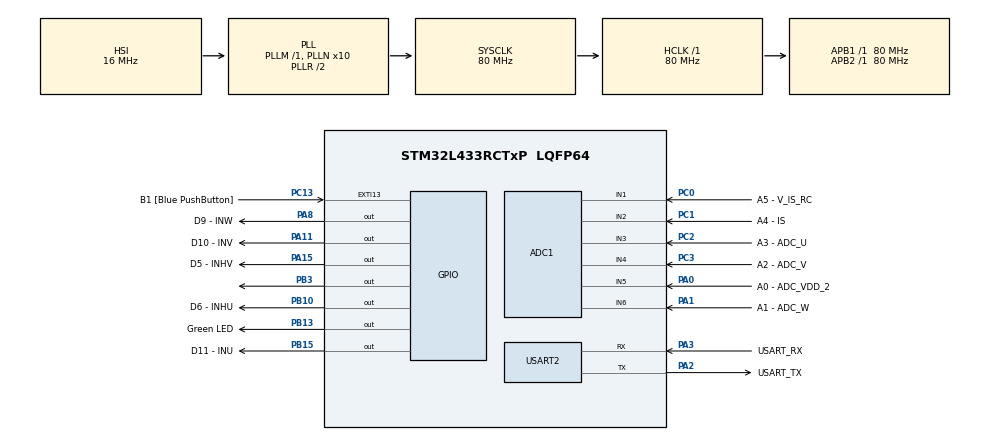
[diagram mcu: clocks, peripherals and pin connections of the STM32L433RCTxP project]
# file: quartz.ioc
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ADC1.Channel-1\#ChannelRegularConversion=ADC_CHANNEL_5
ADC1.Channel-2\#ChannelRegularConversion=ADC_CHANNEL_6
ADC1.Channel-3\#ChannelRegularConversion=ADC_CHANNEL_4
ADC1.Channel-4\#ChannelRegularConversion=ADC_CHANNEL_3
ADC1.Channel-5\#ChannelRegularConversion=ADC_CHANNEL_2
ADC1.Channel-6\#ChannelRegularConversion=ADC_CHANNEL_1
ADC1.ClockPrescaler=ADC_CLOCK_ASYNC_DIV128
ADC1.ContinuousConvMode=ENABLE
ADC1.DMAContinuousRequests=ENABLE
ADC1.NbrOfConversion=6
ADC1.NbrOfConversionFlag=1
ADC1.OffsetNumber-1\#ChannelRegularConversion=ADC_OFFSET_NONE
ADC1.OffsetNumber-2\#ChannelRegularConversion=ADC_OFFSET_NONE
ADC1.OffsetNumber-3\#ChannelRegularConversion=ADC_OFFSET_NONE
ADC1.OffsetNumber-4\#ChannelRegularConversion=ADC_OFFSET_NONE
ADC1.OffsetNumber-5\#ChannelRegularConversion=ADC_OFFSET_NONE
ADC1.OffsetNumber-6\#ChannelRegularConversion=ADC_OFFSET_NONE
ADC1.Rank-1\#ChannelRegularConversion=1
ADC1.Rank-2\#ChannelRegularConversion=2
ADC1.Rank-3\#ChannelRegularConversion=3
ADC1.Rank-4\#ChannelRegularConversion=4
ADC1.Rank-5\#ChannelRegularConversion=5
ADC1.Rank-6\#ChannelRegularConversion=6
ADC1.SamplingTime-1\#ChannelRegularConversion=ADC_SAMPLETIME_247CYCLES_5
ADC1.SamplingTime-2\#ChannelRegularConversion=ADC_SAMPLETIME_247CYCLES_5
ADC1.SamplingTime-3\#ChannelRegularConversion=ADC_SAMPLETIME_247CYCLES_5
ADC1.SamplingTime-4\#ChannelRegularConversion=ADC_SAMPLETIME_247CYCLES_5
ADC1.SamplingTime-5\#ChannelRegularConversion=ADC_SAMPLETIME_247CYCLES_5
ADC1.SamplingTime-6\#ChannelRegularConversion=ADC_SAMPLETIME_247CYCLES_5
ADC1.master=1
Dma.ADC1.0.Direction=DMA_PERIPH_TO_MEMORY
Dma.ADC1.0.Instance=DMA1_Channel1
Dma.ADC1.0.MemDataAlignment=DMA_MDATAALIGN_WORD
Dma.ADC1.0.MemInc=DMA_MINC_ENABLE
Dma.ADC1.0.Mode=DMA_CIRCULAR
Dma.ADC1.0.PeriphDataAlignment=DMA_PDATAALIGN_WORD
Dma.ADC1.0.PeriphInc=DMA_PINC_DISABLE
Dma.ADC1.0.Priority=DMA_PRIORITY_LOW
Dma.Request0=ADC1
FREERTOS.Tasks01=Task01_ID,24,128,Task01,Default,NULL,Dynamic,NULL,NULL;Task02_ID,8,128,Task02,Default,NULL,Dynamic,NULL,NULL;Task03_ID,8,128,Task03,Default,NULL,Dynamic,NULL,NULL
Mcu.Family=STM32L4
Mcu.Name=STM32L433RCTxP
Mcu.Package=LQFP64
NVIC.DMA1_Channel1_IRQn=true\:5\:0\:false\:false\:true\:true\:false\:true\:true
NVIC.PriorityGroup=NVIC_PRIORITYGROUP_4
NVIC.TIM6_DAC_IRQn=true\:15\:0\:false\:false\:true\:false\:false\:true\:true
NVIC.TimeBase=TIM6_DAC_IRQn
NVIC.TimeBaseIP=TIM6
PA0.GPIO_Label=A0 - ADC_VDD_2
PA0.Signal=ADCx_IN5
PA1.GPIO_Label=A1 - ADC_W
PA1.Signal=ADCx_IN6
PA11.GPIO_Label=D10 - INV
PA11.Signal=GPIO_Output
PA13\ (JTMS-SWDIO).GPIO_Label=TMS
PA13\ (JTMS-SWDIO).Mode=Serial_Wire
PA13\ (JTMS-SWDIO).Signal=SYS_JTMS-SWDIO
PA14\ (JTCK-SWCLK).GPIO_Label=TCK
PA14\ (JTCK-SWCLK).Mode=Serial_Wire
PA14\ (JTCK-SWCLK).Signal=SYS_JTCK-SWCLK
PA15\ (JTDI).GPIO_Label=D5 - INHV
PA15\ (JTDI).Signal=GPIO_Output
PA2.GPIO_Label=USART_TX
PA2.GPIO_Mode=GPIO_MODE_AF_PP
PA2.GPIO_PuPd=GPIO_NOPULL
PA2.GPIO_Speed=GPIO_SPEED_FREQ_VERY_HIGH
PA2.Mode=Asynchronous
PA2.Signal=USART2_TX
PA3.GPIO_Label=USART_RX
PA3.GPIO_Mode=GPIO_MODE_AF_PP
PA3.GPIO_PuPd=GPIO_NOPULL
PA3.GPIO_Speed=GPIO_SPEED_FREQ_VERY_HIGH
PA3.Mode=Asynchronous
PA3.Signal=USART2_RX
PA8.GPIO_Label=D9 - INW
PA8.Signal=GPIO_Output
PB10.GPIO_Label=D6 - INHU
PB10.Signal=GPIO_Output
PB13.GPIO_Label=Green LED
PB13.Signal=GPIO_Output
PB15.GPIO_Label=D11 - INU
PB15.Signal=GPIO_Output
PB3\ (JTDO-TRACESWO).Signal=GPIO_Output
PC0.GPIO_Label=A5 - V_IS_RC
PC0.Signal=ADCx_IN1
PC1.GPIO_Label=A4 - IS
PC1.Signal=ADCx_IN2
PC13.GPIO_Label=B1 [Blue PushButton]
PC13.GPIO_ModeDefaultEXTI=GPIO_MODE_IT_FALLING
PC13.GPIO_PuPd=GPIO_NOPULL
PC13.Signal=GPXTI13
PC14-OSC32_IN\ (PC14).Mode=LSE-External-Oscillator
PC14-OSC32_IN\ (PC14).Signal=RCC_OSC32_IN
PC15-OSC32_OUT\ (PC15).Mode=LSE-External-Oscillator
PC15-OSC32_OUT\ (PC15).Signal=RCC_OSC32_OUT
PC2.GPIO_Label=A3 - ADC_U
PC2.Signal=ADCx_IN3
PC3.GPIO_Label=A2 - ADC_V
PC3.Signal=ADCx_IN4
PH0-OSC_IN\ (PH0).GPIO_Label=MCO
PH0-OSC_IN\ (PH0).Mode=HSE-External-Clock-Source
PH0-OSC_IN\ (PH0).Signal=RCC_OSC_IN
PH1-OSC_OUT\ (PH1).Signal=RCC_OSC_OUT
ProjectManager.HeapSize=0x200
ProjectManager.StackSize=0x400
ProjectManager.TargetToolchain=STM32CubeIDE
RCC.ADCFreq_Value=64000000
RCC.AHBFreq_Value=80000000
RCC.APB1Freq_Value=80000000
RCC.APB1TimFreq_Value=80000000
RCC.APB2Freq_Value=80000000
RCC.APB2TimFreq_Value=80000000
RCC.CortexFreq_Value=80000000
RCC.HCLKFreq_Value=80000000
RCC.HSE_VALUE=8000000
RCC.HSI48_VALUE=48000000
RCC.HSI_VALUE=16000000
RCC.MSI_VALUE=4000000
RCC.PLLN=10
RCC.PLLSourceVirtual=RCC_PLLSOURCE_HSI
RCC.PREFETCH_ENABLE=1
RCC.SYSCLKFreq_VALUE=80000000
RCC.SYSCLKSource=RCC_SYSCLKSOURCE_PLLCLK
RCC.USBFreq_Value=64000000
RCC.VCOOutputFreq_Value=160000000
SH.ADCx_IN1.0=ADC1_IN1,IN1-Single-Ended
SH.ADCx_IN2.0=ADC1_IN2,IN2-Single-Ended
SH.ADCx_IN3.0=ADC1_IN3,IN3-Single-Ended
SH.ADCx_IN4.0=ADC1_IN4,IN4-Single-Ended
SH.ADCx_IN5.0=ADC1_IN5,IN5-Single-Ended
SH.ADCx_IN6.0=ADC1_IN6,IN6-Single-Ended
USART2.VirtualMode-Asynchronous=VM_ASYNC
VP_FREERTOS_VS_CMSIS_V2.Mode=CMSIS_V2
VP_SYS_VS_tim6.Mode=TIM6
board=NUCLEO-L433RC-P

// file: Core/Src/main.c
/* USER CODE BEGIN Header */
/**
 ******************************************************************************
 * @file           : main.c
 * @brief          : Main program body
 ******************************************************************************
 * @attention
 *
 * Copyright (c) 2023 STMicroelectronics.
 * All rights reserved.
 *
 * This software is licensed under terms that can be found in the LICENSE file
 * in the root directory of this software component.
 * If no LICENSE file comes with this software, it is provided AS-IS.
 *
 ******************************************************************************
 */
/* USER CODE END Header */
#include "main.h"
#include "cmsis_os.h"
#include "adc.h"
#include "dma.h"
#include "usart.h"
#include "gpio.h"

/* USER CODE BEGIN Includes */
#include "header.h"
#include "UART.h"
/* USER CODE END Includes */

/* USER CODE BEGIN PV */
uint32_t adc_values[6];

/* USER CODE END PV */

void SystemClock_Config(void);
void MX_FREERTOS_Init(void);

int main(void)
{

  /* MCU Configuration--------------------------------------------------------*/

  /* Reset of all peripherals, Initializes the Flash interface and the Systick. */
  HAL_Init();

  /* Configure the system clock */
  SystemClock_Config();

  /* Initialize all configured peripherals */
  MX_GPIO_Init();
  MX_DMA_Init();
  MX_USART2_UART_Init();
  MX_ADC1_Init();
  /* USER CODE BEGIN 2 */

	// Start ADC in DMA mode
	HAL_ADC_Start_DMA(&hadc1, adc_values, 6);

  /* USER CODE END 2 */

  /* Init scheduler */
  osKernelInitialize();  /* Call init function for freertos objects (in freertos.c) */
  MX_FREERTOS_Init();

  /* Start scheduler */
  osKernelStart();

  /* We should never get here as control is now taken by the scheduler */
  /* Infinite loop */
	while (1)
	{

	}
}

void SystemClock_Config(void)
{
  RCC_OscInitTypeDef RCC_OscInitStruct = {0};
  RCC_ClkInitTypeDef RCC_ClkInitStruct = {0};

  /** Configure the main internal regulator output voltage
  */
  if (HAL_PWREx_ControlVoltageScaling(PWR_REGULATOR_VOLTAGE_SCALE1) != HAL_OK)
  {
    Error_Handler();
  }

  /** Initializes the RCC Oscillators according to the specified parameters
  * in the RCC_OscInitTypeDef structure.
  */
  RCC_OscInitStruct.OscillatorType = RCC_OSCILLATORTYPE_HSI;
  RCC_OscInitStruct.HSIState = RCC_HSI_ON;
  RCC_OscInitStruct.HSICalibrationValue = RCC_HSICALIBRATION_DEFAULT;
  RCC_OscInitStruct.PLL.PLLState = RCC_PLL_ON;
  RCC_OscInitStruct.PLL.PLLSource = RCC_PLLSOURCE_HSI;
  RCC_OscInitStruct.PLL.PLLM = 1;
  RCC_OscInitStruct.PLL.PLLN = 10;
  RCC_OscInitStruct.PLL.PLLP = RCC_PLLP_DIV7;
  RCC_OscInitStruct.PLL.PLLQ = RCC_PLLQ_DIV2;
  RCC_OscInitStruct.PLL.PLLR = RCC_PLLR_DIV2;
  if (HAL_RCC_OscConfig(&RCC_OscInitStruct) != HAL_OK)
  {
    Error_Handler();
  }

  /** Initializes the CPU, AHB and APB buses clocks
  */
  RCC_ClkInitStruct.ClockType = RCC_CLOCKTYPE_HCLK|RCC_CLOCKTYPE_SYSCLK
                              |RCC_CLOCKTYPE_PCLK1|RCC_CLOCKTYPE_PCLK2;
  RCC_ClkInitStruct.SYSCLKSource = RCC_SYSCLKSOURCE_PLLCLK;
  RCC_ClkInitStruct.AHBCLKDivider = RCC_SYSCLK_DIV1;
  RCC_ClkInitStruct.APB1CLKDivider = RCC_HCLK_DIV1;
  RCC_ClkInitStruct.APB2CLKDivider = RCC_HCLK_DIV1;

  if (HAL_RCC_ClockConfig(&RCC_ClkInitStruct, FLASH_LATENCY_4) != HAL_OK)
  {
    Error_Handler();
  }
}

void HAL_TIM_PeriodElapsedCallback(TIM_HandleTypeDef *htim)
{
  if (htim->Instance == TIM6) {
    HAL_IncTick();
  }
}

void Error_Handler(void)
{
	__disable_irq();
	while (1)
	{
	}
}

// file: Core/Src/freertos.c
/* USER CODE BEGIN Header */
/**
 ******************************************************************************
 * File Name          : freertos.c
 * Description        : Code for freertos applications
 ******************************************************************************
 * @attention
 *
 * Copyright (c) 2023 STMicroelectronics.
 * All rights reserved.
 *
 * This software is licensed under terms that can be found in the LICENSE file
 * in the root directory of this software component.
 * If no LICENSE file comes with this software, it is provided AS-IS.
 *
 ******************************************************************************
 */
/* USER CODE END Header */

#include "FreeRTOS.h"
#include "task.h"
#include "main.h"
#include "cmsis_os.h"

/* USER CODE BEGIN Includes */
#include "UART.h"
#include "header.h"
/* USER CODE END Includes */

/* USER CODE BEGIN Variables */
unsigned char button = 0;

unsigned short dutyCycleLength = 1000; // in ms
unsigned short dutyCycle = 25;			// active in ms

/* USER CODE END Variables */
/* Definitions for Task01_ID */
osThreadId_t Task01_IDHandle;
const osThreadAttr_t Task01_ID_attributes =
{.name = "Task01_ID", .stack_size = 128 * 4, .priority =
		(osPriority_t) osPriorityNormal, };
/* Definitions for Task02_ID */
osThreadId_t Task02_IDHandle;
const osThreadAttr_t Task02_ID_attributes =
{.name = "Task02_ID", .stack_size = 128 * 4, .priority =
		(osPriority_t) osPriorityLow, };
/* Definitions for Task03_ID */
osThreadId_t Task03_IDHandle;
const osThreadAttr_t Task03_ID_attributes =
{.name = "Task03_ID", .stack_size = 128 * 4, .priority =
		(osPriority_t) osPriorityLow, };

void
Task01(void *argument);
void
Task02(void *argument);
void
Task03(void *argument);

void
MX_FREERTOS_Init(void); /* (MISRA C 2004 rule 8.1) */

void MX_FREERTOS_Init(void)
{

	/* Create the thread(s) */
	/* creation of Task01_ID */
	Task01_IDHandle = osThreadNew(Task01, NULL, &Task01_ID_attributes);

	/* creation of Task02_ID */
	Task02_IDHandle = osThreadNew(Task02, NULL, &Task02_ID_attributes);

	/* creation of Task03_ID */
	Task03_IDHandle = osThreadNew(Task03, NULL, &Task03_ID_attributes);

}

void Task01(void *argument)
{
	/* USER CODE BEGIN Task01 */
	state_t state = step0;

	/* Infinite loop */
	for(;;)
	{
		switch(state)
		{
			case step0:
//				UART_string("\nStep0");
//				UART_string("\nHigh: U \nLow: W \nInhibit: V");
				HAL_GPIO_WritePin(INUBANK, INUPIN, 1);
				HAL_GPIO_WritePin(INWBANK, INWPIN, 0);
				HAL_GPIO_WritePin(INHVBANK, INHWPIN, 0);

				//uninhibit high and low
				HAL_GPIO_WritePin(INHUBANK, INHUPIN, 1);
				HAL_GPIO_WritePin(INHWBANK, INHWPIN, 1);
				state = step1;
				break;

			case step1:
//				UART_string("\nStep1");
//				UART_string("\nHigh: V \nLow: W \nInhibit: U");
				HAL_GPIO_WritePin(INVBANK, INVPIN, 1);
				HAL_GPIO_WritePin(INWBANK, INWPIN, 0);
				HAL_GPIO_WritePin(INHUBANK, INHUPIN, 0);

				//uninhibit high and low
				HAL_GPIO_WritePin(INHVBANK, INHVPIN, 1);
				HAL_GPIO_WritePin(INHWBANK, INHWPIN, 1);
				state = step2;
				break;

			case step2:
//				UART_string("\nStep2");
//				UART_string("\nHigh: V \nLow: U \nInhibit: W");
				HAL_GPIO_WritePin(INVBANK, INVPIN, 1);
				HAL_GPIO_WritePin(INUBANK, INUPIN, 0);
				HAL_GPIO_WritePin(INHWBANK, INHWPIN, 0);

				//uninhibit high and low
				HAL_GPIO_WritePin(INHVBANK, INHVPIN, 1);
				HAL_GPIO_WritePin(INHUBANK, INHUPIN, 1);
				state = step3;
				break;

			case step3:
//				UART_string("\nStep3");
//				UART_string("\nHigh: W \nLow: U \nInhibit: V");
				HAL_GPIO_WritePin(INWBANK, INWPIN, 1);
				HAL_GPIO_WritePin(INUBANK, INUPIN, 0);
				HAL_GPIO_WritePin(INHVBANK, INHVPIN, 0);

				//uninhibit high and low
				HAL_GPIO_WritePin(INHWBANK, INHWPIN, 1);
				HAL_GPIO_WritePin(INHUBANK, INHUPIN, 1);
				state = step4;
				break;

			case step4:
//				UART_string("\nStep4");
//				UART_string("\nHigh: W \nLow: V \nInhibit: U");
				HAL_GPIO_WritePin(INWBANK, INWPIN, 1);
				HAL_GPIO_WritePin(INVBANK, INVPIN, 0);
				HAL_GPIO_WritePin(INHUBANK, INHUPIN, 0);

				//uninhibit high and low
				HAL_GPIO_WritePin(INHWBANK, INHWPIN, 1);
				HAL_GPIO_WritePin(INHVBANK, INHVPIN, 1);
				state = step5;
				break;

			case step5:
//				UART_string("\nStep5");
//				UART_string("\nHigh: U \nLow: V \nInhibit: W");
				HAL_GPIO_WritePin(INUBANK, INUPIN, 1);
				HAL_GPIO_WritePin(INVBANK, INVPIN, 0);
				HAL_GPIO_WritePin(INHUBANK, INHUPIN, 0);

				//uninhibit high and low
				HAL_GPIO_WritePin(INHUBANK, INHUPIN, 1);
				HAL_GPIO_WritePin(INHVBANK, INHVPIN, 1);
				state = step0;
				break;

			default:
//				UART_string("Inhibit all");
				HAL_GPIO_WritePin(INHUBANK, INHUPIN, 0);
				HAL_GPIO_WritePin(INHVBANK, INHVPIN, 0);
				HAL_GPIO_WritePin(INHWBANK, INHWPIN, 0);
				break;
		}
		UART_char('\n');

		// determines torque (?)
		osDelay(dutyCycle);
		HAL_GPIO_WritePin(INHUBANK, INHUPIN, 0);
		HAL_GPIO_WritePin(INHVBANK, INHVPIN, 0);
		HAL_GPIO_WritePin(INHWBANK, INHWPIN, 0);

		// determines speed (?)
		osDelay(dutyCycleLength - dutyCycle);

		if(button == 1)
		{
			if(dutyCycleLength > 200)
			{
				dutyCycleLength -= 100;
			}
			else
			{
				dutyCycleLength = 1000;
			}
		}

	}
	/* USER CODE END Task01 */
}

void Task02(void *argument)
{
	/* USER CODE BEGIN Task02 */
	/* Infinite loop */
	for(;;)
	{
		UART_int(adc_values[0]);
		UART_char('\t');

		UART_int(adc_values[1]);
		UART_char('\t');

		UART_int(adc_values[2]);
		UART_char('\t');

		UART_int(adc_values[3]);
		UART_char('\t');

		UART_int(adc_values[4]);
		UART_char('\t');

		UART_int(adc_values[5]);
		UART_char('\t');

		UART_int(dutyCycleLength);
		UART_char('\n');
		osDelay(1);
	}
	/* USER CODE END Task02 */
}

void Task03(void *argument)
{
	/* USER CODE BEGIN Task03 */
	/* Infinite loop */
	for(;;)
	{
		button = HAL_GPIO_ReadPin(BUTTONBANK, BUTTONPIN);
		osDelay(50);
	}
	/* USER CODE END Task03 */
}
